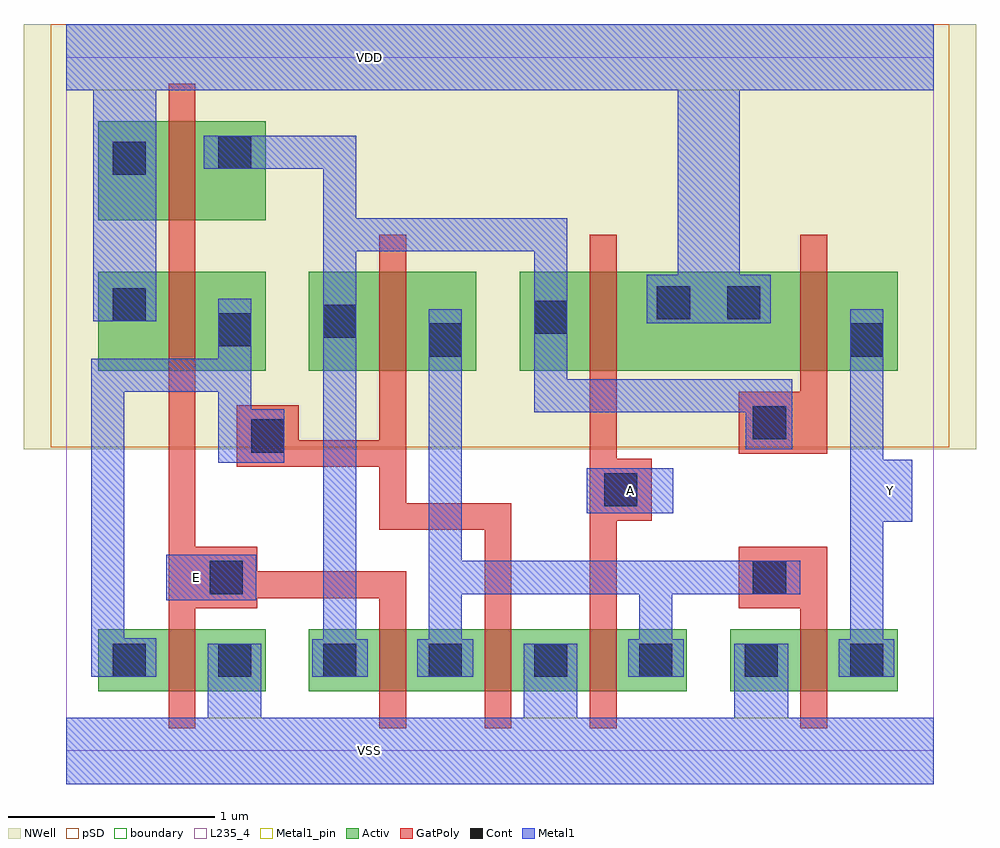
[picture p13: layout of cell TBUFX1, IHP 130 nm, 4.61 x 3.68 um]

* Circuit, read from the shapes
.subckt TBUFX1 A E VDD VSS Y
XM1 VSS E n1 VSUBS sg13_lv_nmos w=0.3u l=0.13u
XM2 n2 E n3 VSUBS sg13_lv_nmos w=0.3u l=0.13u
XM3 VSS n1 n2 VSUBS sg13_lv_nmos w=0.3u l=0.13u
XM4 n2 A VSS VSUBS sg13_lv_nmos w=0.3u l=0.13u
XM5 Y n2 VSS VSUBS sg13_lv_nmos w=0.3u l=0.13u
XM6 n1 E VDD n4 sg13_lv_pmos w=0.48u l=0.13u
XM7 n3 E VDD n4 sg13_lv_pmos w=0.48u l=0.13u
XM8 n2 n1 n3 n4 sg13_lv_pmos w=0.48u l=0.13u
XM9 VDD A n3 n4 sg13_lv_pmos w=0.48u l=0.13u
XM10 Y n3 VDD n4 sg13_lv_pmos w=0.48u l=0.13u
.ends

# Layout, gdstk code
import gdstk
lib = gdstk.Library(unit=1e-6, precision=1e-09)
def R(c, l, rs):  # rectangles x0, y0, x1, y1
    for r in rs: c.add(gdstk.rectangle(r[:2], r[2:], *l))
def A(c, l, x, y, w, h, nx, ny, dx, dy):  # array of equal rectangles
    R(c, l, [(x+i*dx, y+j*dy, x+i*dx+w, y+j*dy+h) for i in range(nx) for j in range(ny)])
def P(c, l, *ps):  # polygons
    for p in ps: c.add(gdstk.Polygon(p, *l))
Activ = (1, 0)
GatPoly = (5, 0)
Cont = (6, 0)
Metal1 = (8, 0)
Metal1_pin = (8, 2)
pSD = (14, 0)
NWell = (31, 0)
boundary = (189, 4)
L235_4 = (235, 4)

tbufx1 = lib.new_cell('TBUFX1')
R(tbufx1, Activ, [(0.155,0.29,0.965,0.59), (1.175,0.29,3.005,0.59), (3.215,0.29,4.025,0.59), (0.155,1.84,0.965,2.32), (1.175,1.84,1.985,2.32), (2.195,1.84,4.025,2.32), (0.155,2.57,0.965,3.05)])
P(tbufx1, GatPoly, [(3.555,0.11),(3.555,0.69),(3.255,0.69),(3.255,0.99),(3.685,0.99),(3.685,0.11)],
  [(3.255,1.44),(3.255,1.74),(3.555,1.74),(3.555,2.5),(3.685,2.5),(3.685,1.44)],
  [(2.535,0.11),(2.535,2.5),(2.665,2.5),(2.665,1.415),(2.835,1.415),(2.835,1.115),(2.665,1.115),(2.665,0.11)],
  [(2.025,0.11),(2.025,1.07),(1.515,1.07),(1.515,1.375),(0.825,1.375),(0.825,1.675),(1.125,1.675),(1.125,1.505),(1.515,1.505),(1.515,2.5),(1.645,2.5),(1.645,1.2),(2.155,1.2),(2.155,0.11)],
  [(0.495,0.11),(0.495,3.23),(0.625,3.23),(0.625,0.99),(0.925,0.99),(0.925,0.87),(1.645,0.87),(1.645,0.11),(1.515,0.11),(1.515,0.74),(0.925,0.74),(0.925,0.69),(0.625,0.69),(0.625,0.11)])
A(tbufx1, Cont, 0.225, 0.36, 0.16, 0.16, 8, 1, 0.51, 0)
R(tbufx1, Cont, [(0.695,0.76,0.855,0.92), (3.325,0.76,3.485,0.92), (2.605,1.185,2.765,1.345), (0.895,1.445,1.055,1.605), (3.325,1.51,3.485,1.67), (1.755,1.91,1.915,2.07), (3.795,1.91,3.955,2.07), (0.735,1.96,0.895,2.12), (1.245,2,1.405,2.16), (2.265,2.02,2.425,2.18), (0.225,2.08,0.385,2.24), (2.86,2.09,3.02,2.25), (3.2,2.09,3.36,2.25), (0.225,2.79,0.385,2.95), (0.735,2.82,0.895,2.98)])
R(tbufx1, Metal1, [(0.485,0.73,0.92,0.95), (2.52,1.15,2.94,1.37)])
P(tbufx1, Metal1, [(0,-0.16),(0,0.16),(0.685,0.16),(0.685,0.52),(0.945,0.52),(0.945,0.16),(2.215,0.16),(2.215,0.52),(2.475,0.52),(2.475,0.16),(3.235,0.16),(3.235,0.52),(3.495,0.52),(3.495,0.16),(4.2,0.16),(4.2,-0.16)],
  [(2.81,2.07),(2.81,2.305),(2.96,2.305),(2.96,3.2),(0.435,3.2),(0.435,2.08),(0.13,2.08),(0.13,3.2),(0,3.2),(0,3.52),(4.2,3.52),(4.2,3.2),(3.26,3.2),(3.26,2.305),(3.41,2.305),(3.41,2.07)],
  [(3.74,0.36),(3.74,0.54),(3.795,0.54),(3.795,2.14),(3.955,2.14),(3.955,1.41),(4.095,1.41),(4.095,1.11),(3.955,1.11),(3.955,0.54),(4.01,0.54),(4.01,0.36)],
  [(1.7,0.36),(1.7,0.54),(1.755,0.54),(1.755,2.14),(1.915,2.14),(1.915,0.92),(3.555,0.92),(3.555,0.76),(2.935,0.76),(2.935,0.54),(2.99,0.54),(2.99,0.36),(2.72,0.36),(2.72,0.54),(2.775,0.54),(2.775,0.76),(1.915,0.76),(1.915,0.54),(1.97,0.54),(1.97,0.36)],
  [(1.19,0.36),(1.19,0.54),(1.245,0.54),(1.245,2.82),(0.665,2.82),(0.665,2.98),(1.405,2.98),(1.405,2.58),(2.425,2.58),(2.425,1.8),(3.515,1.8),(3.515,1.46),(3.29,1.46),(3.29,1.64),(2.265,1.64),(2.265,2.42),(1.405,2.42),(1.405,0.54),(1.46,0.54),(1.46,0.36)],
  [(0.12,0.36),(0.12,1.9),(0.735,1.9),(0.735,2.19),(0.895,2.19),(0.895,1.655),(1.055,1.655),(1.055,1.395),(0.735,1.395),(0.735,1.74),(0.28,1.74),(0.28,0.545),(0.435,0.545),(0.435,0.36)])
R(tbufx1, Metal1_pin, [(0,-0.16,4.2,0.16), (0.485,0.73,0.92,0.95), (2.52,1.15,2.94,1.37), (0,3.2,4.2,3.52)])
P(tbufx1, Metal1_pin, [(3.74,0.36),(3.74,0.54),(3.795,0.54),(3.795,2.14),(3.955,2.14),(3.955,1.41),(4.095,1.41),(4.095,1.11),(3.955,1.11),(3.955,0.54),(4.01,0.54),(4.01,0.36)])
R(tbufx1, pSD, [(-0.075,1.47,4.275,3.52)])
R(tbufx1, NWell, [(-0.205,1.46,4.405,3.52)])
R(tbufx1, boundary, [(0,0,4.2,3.36)])
R(tbufx1, L235_4, [(0,0,4.2,3.36)])
tbufx1.add(gdstk.Label('E', (0.63,0.84), layer=8, texttype=25))
tbufx1.add(gdstk.Label('A', (2.73,1.26), layer=8, texttype=25))
tbufx1.add(gdstk.Label('Y', (3.99,1.26), layer=8, texttype=25))
tbufx1.add(gdstk.Label('VSS', (1.47,0), layer=8, texttype=25))
tbufx1.add(gdstk.Label('VDD', (1.47,3.36), layer=8, texttype=25))

lib.write_gds('TBUFX1.gds')
